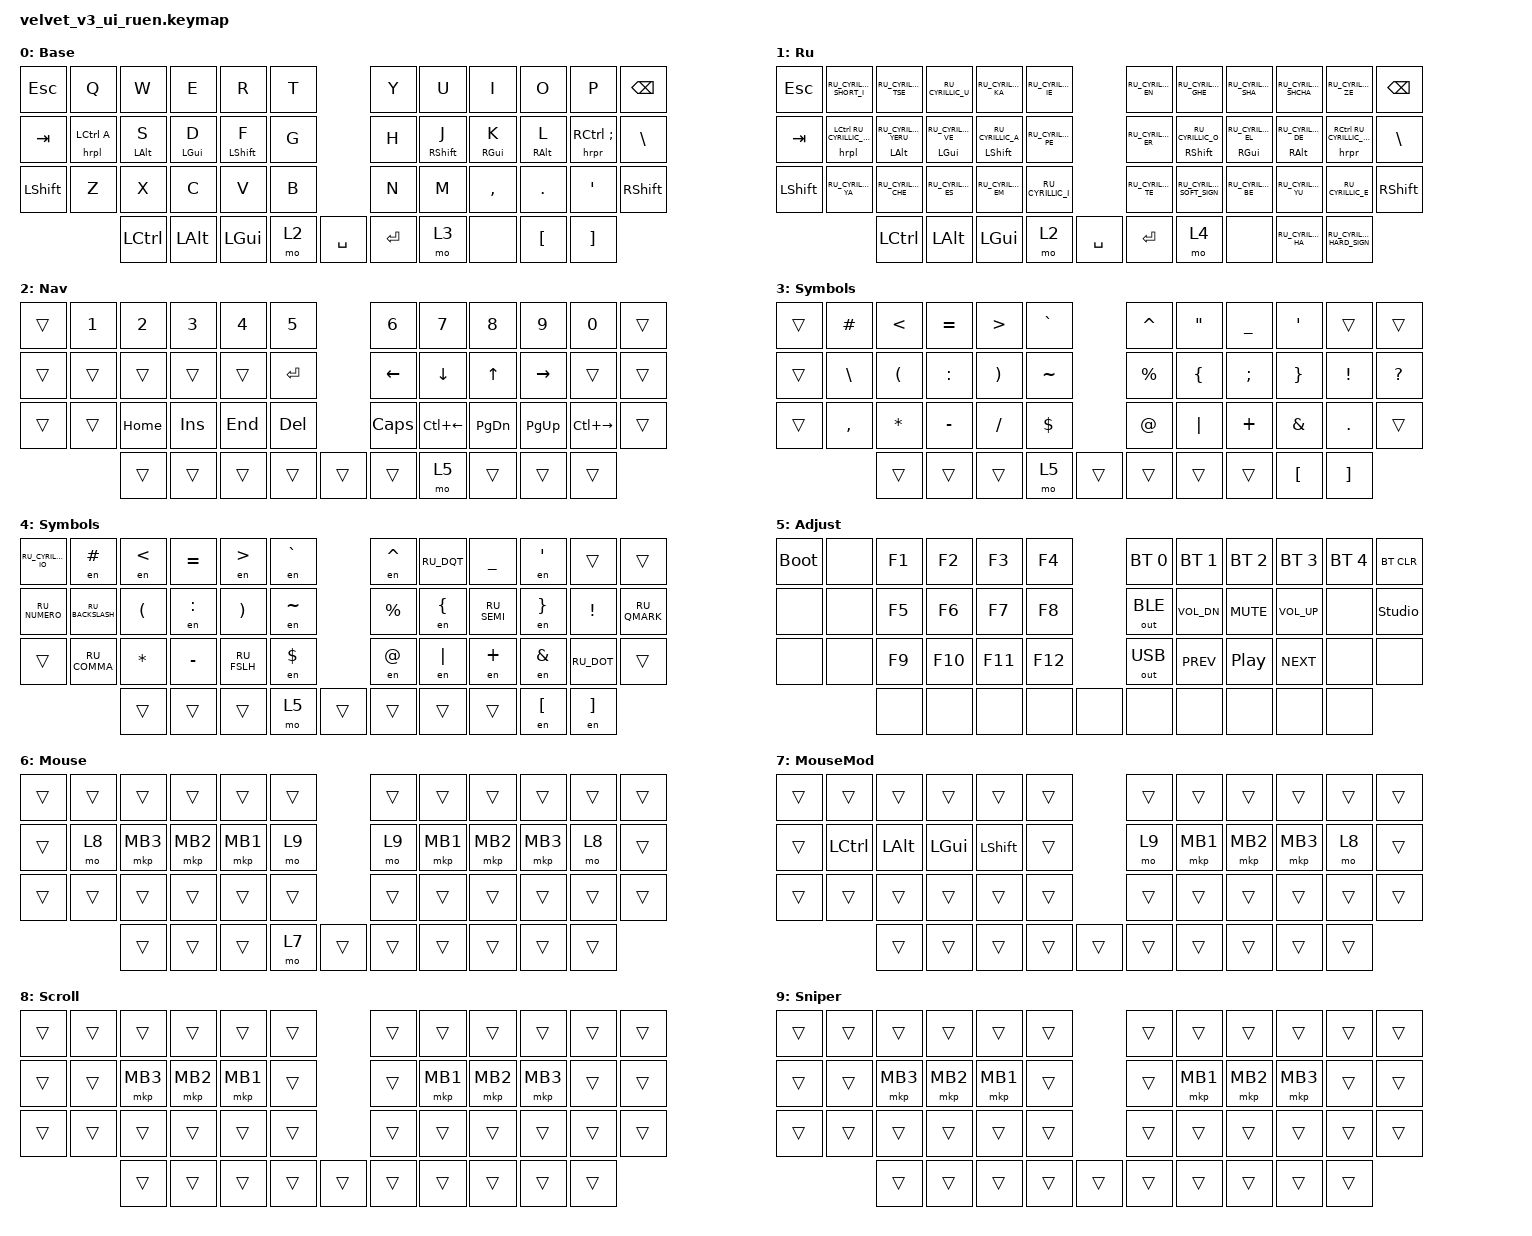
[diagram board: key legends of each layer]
#include "keys_ru.h"
#include <dt-bindings/zmk/input_transform.h>
#include <input/processors.dtsi>
#include <zephyr/dt-bindings/input/input-event-codes.h>
#include <behaviors.dtsi>
#include <dt-bindings/zmk/bt.h>
#include <dt-bindings/zmk/keys.h>
#include <dt-bindings/zmk/outputs.h>
#include <dt-bindings/zmk/pointing.h>

#define LHK 0 1 2 3 4 5 12 13 14 15 16 17 24 25 26 27 28 29 36 37
#define RHK 6 7 8 9 10 11 18 19 20 21 22 23 30 31 32 33 34 35 44 45
#define THK 38 39 40 41 42 43

#include "behaviors_common.h"

/ {
    behaviors {
        cap_sen: cap_sen {
            compatible = "zmk,behavior-hold-tap";
            label = "CAP_SEN";
            bindings = <&mo>, <&mkp>;

            #binding-cells = <2>;
            tapping-term-ms = <150>;
            hold-while-undecided;
        };

        mouse_layer: mouse_layer {
            compatible = "zmk,behavior-sticky-key";
            label = "MOUSE_LAYER";
            bindings = <&mo>;
            #binding-cells = <1>;
            release-after-ms = <200>;
        };

        zip_auto_mouse: zip_auto_mouse {
            compatible = "zmk,input-processor-temp-layer";
            #input-processor-cells = <2>;
            require-prior-idle-ms = <800>;
            excluded-positions = <>;
        };
    };

    combos {
        compatible = "zmk,combos";

        cmben {
            bindings = <&layer_en>;
            key-positions = <3 4>;
            layers = <1>;
        };

        cmbru {
            bindings = <&layer_ru>;
            key-positions = <3 4>;
            layers = <0>;
        };
    };

    macros {
        to_ru: to_ru {
            compatible = "zmk,behavior-macro";
            #binding-cells = <0>;
            bindings = <&kp LS(LC(N2))>;
            label = "TO_RU";
            wait-ms = <0>;
            tap-ms = <30>;
        };

        to_en: to_en {
            compatible = "zmk,behavior-macro";
            #binding-cells = <0>;
            bindings = <&kp LS(LC(N1))>;
            label = "TO_EN";
            wait-ms = <0>;
            tap-ms = <30>;
        };

        layer_en: layer_en {
            compatible = "zmk,behavior-macro";
            #binding-cells = <0>;
            bindings = <&to 0 &to_en>;
            label = "LAYER_EN";
            wait-ms = <0>;
            tap-ms = <30>;
        };

        layer_ru: layer_ru {
            compatible = "zmk,behavior-macro";
            #binding-cells = <0>;
            bindings = <&to 1 &to_ru>;
            label = "LAYER_RU";
            tap-ms = <30>;
            wait-ms = <0>;
        };

        en: en {
            compatible = "zmk,behavior-macro-one-param";
            #binding-cells = <1>;
            bindings =
                <&to_en>,
                <&macro_press>,
                <&macro_param_1to1 &kp MACRO_PLACEHOLDER>,
                <&macro_pause_for_release>,
                <&macro_release>,
                <&macro_param_1to1 &kp MACRO_PLACEHOLDER>,
                <&macro_tap>,
                <&to_ru>;

            label = "EN";
            wait-ms = <0>;
            tap-ms = <30>;
        };
    };

    keymap {
        compatible = "zmk,keymap";

        en {
            bindings = <
&kp ESC    &kp Q          &kp W             &kp E         &kp R          &kp T                        &kp Y  &kp U          &kp I         &kp O         &kp P             &kp BSPC
&kp TAB    &hrpl LCTRL A  &hrml LALT S      &hrml LGUI D  &hrml LSHFT F  &kp G                        &kp H  &hrmr RSHFT J  &hrmr RGUI K  &hrmr RALT L  &hrpr RCTRL SEMI  &kp BSLH
&kp LSHFT  &kp Z          &kp X             &kp C         &kp V          &kp B                        &kp N  &kp M          &kp COMMA     &kp DOT       &kp SQT           &kp RSHFT
                          &kp LEFT_CONTROL  &kp LALT      &kp LGUI       &mo 2  &kp SPACE    &kp RET  &mo 3  &none          &kp LBKT      &kp RBKT
            >;

            display-name = "Base";
        };

        ru {
            display-name = "Ru";
            bindings = <
&kp ESC    &kp RU_CYRILLIC_SHORT_I     &kp RU_CYRILLIC_TSE          &kp RU_CYRILLIC_U          &kp RU_CYRILLIC_KA         &kp RU_CYRILLIC_IE                        &kp RU_CYRILLIC_EN  &kp RU_CYRILLIC_GHE        &kp RU_CYRILLIC_SHA        &kp RU_CYRILLIC_SHCHA      &kp RU_CYRILLIC_ZE           &kp BSPC
&kp TAB    &hrpl LCTRL RU_CYRILLIC_EF  &hrml LALT RU_CYRILLIC_YERU  &hrml LGUI RU_CYRILLIC_VE  &hrml LSHFT RU_CYRILLIC_A  &kp RU_CYRILLIC_PE                        &kp RU_CYRILLIC_ER  &hrmr RSHFT RU_CYRILLIC_O  &hrmr RGUI RU_CYRILLIC_EL  &hrmr RALT RU_CYRILLIC_DE  &hrpr RCTRL RU_CYRILLIC_ZHE  &kp BSLH
&kp LSHFT  &kp RU_CYRILLIC_YA          &kp RU_CYRILLIC_CHE          &kp RU_CYRILLIC_ES         &kp RU_CYRILLIC_EM         &kp RU_CYRILLIC_I                         &kp RU_CYRILLIC_TE  &kp RU_CYRILLIC_SOFT_SIGN  &kp RU_CYRILLIC_BE         &kp RU_CYRILLIC_YU         &kp RU_CYRILLIC_E            &kp RSHFT
                                       &kp LEFT_CONTROL             &kp LALT                   &kp LGUI                   &mo 2               &kp SPACE    &kp RET  &mo 4               &none                      &kp RU_CYRILLIC_HA         &kp RU_CYRILLIC_HARD_SIGN
            >;
        };

        nav {
            bindings = <
&trans  &kp N1  &kp N2    &kp N3   &kp N4   &kp N5                     &kp N6    &kp N7        &kp N8         &kp N9       &kp N0         &trans
&trans  &trans  &trans    &trans   &trans   &kp RET                    &kp LEFT  &kp DOWN      &kp UP         &kp RIGHT    &trans         &trans
&trans  &trans  &kp HOME  &kp INS  &kp END  &kp DEL                    &kp CLCK  &kp LC(LEFT)  &kp PAGE_DOWN  &kp PAGE_UP  &kp LC(RIGHT)  &trans
                &trans    &trans   &trans   &trans   &trans    &trans  &mo 5     &trans        &trans         &trans
            >;

            display-name = "Nav";
        };

        sym_en {
            bindings = <
&trans  &kp HASH   &kp LT    &kp EQUAL  &kp GT    &kp GRAVE                    &kp CARET  &kp DQT   &kp UNDER  &kp SQT   &trans    &trans
&trans  &kp BSLH   &kp LPAR  &kp COLON  &kp RPAR  &kp TILDE                    &kp PRCNT  &kp LBRC  &kp SEMI   &kp RBRC  &kp EXCL  &kp QUESTION
&trans  &kp COMMA  &kp STAR  &kp MINUS  &kp FSLH  &kp DLLR                     &kp AT     &kp PIPE  &kp PLUS   &kp AMPS  &kp DOT   &trans
                   &trans    &trans     &trans    &mo 5      &trans    &trans  &trans     &trans    &kp LBKT   &kp RBKT
            >;

            display-name = "Symbols";
        };

        sym_ru {
            display-name = "Symbols";
            bindings = <
&kp RU_CYRILLIC_IO  &en HASH          &en LT    &kp EQUAL  &en GT       &en GRAVE                    &en CARET  &kp RU_DQT  &kp UNDER    &en SQT   &trans      &trans
&kp RU_NUMERO       &kp RU_BACKSLASH  &kp LPAR  &en COLON  &kp RPAR     &en TILDE                    &kp PRCNT  &en LBRC    &kp RU_SEMI  &en RBRC  &kp EXCL    &kp RU_QMARK
&trans              &kp RU_COMMA      &kp STAR  &kp MINUS  &kp RU_FSLH  &en DLLR                     &en AT     &en PIPE    &en PLUS     &en AMPS  &kp RU_DOT  &trans
                                      &trans    &trans     &trans       &mo 5      &trans    &trans  &trans     &trans      &en LBKT     &en RBKT
            >;
        };

        adj {
            bindings = <
&bootloader  &none  &kp F1  &kp F2   &kp F3   &kp F4                   &bt BT_SEL 0  &bt BT_SEL 1  &bt BT_SEL 2      &bt BT_SEL 3  &bt BT_SEL 4  &bt BT_CLR
&none        &none  &kp F5  &kp F6   &kp F7   &kp F8                   &out OUT_BLE  &kp C_VOL_DN  &kp C_MUTE        &kp C_VOL_UP  &none         &studio_unlock
&none        &none  &kp F9  &kp F10  &kp F11  &kp F12                  &out OUT_USB  &kp C_PREV    &kp C_PLAY_PAUSE  &kp C_NEXT    &none         &none
                    &none   &none    &none    &none    &none    &none  &none         &none         &none             &none
            >;

            display-name = "Adjust";
        };

        mouse {
            bindings = <
&trans  &trans  &trans    &trans    &trans    &trans                    &trans  &trans    &trans    &trans    &trans  &trans
&trans  &mo 8   &mkp MB3  &mkp MB2  &mkp MB1  &mo 9                     &mo 9   &mkp MB1  &mkp MB2  &mkp MB3  &mo 8   &trans
&trans  &trans  &trans    &trans    &trans    &trans                    &trans  &trans    &trans    &trans    &trans  &trans
                &trans    &trans    &trans    &mo 7   &trans    &trans  &trans  &trans    &trans    &trans
            >;

            display-name = "Mouse";
        };

        mousemod {
            bindings = <
&trans  &trans     &trans    &trans    &trans     &trans                    &trans  &trans    &trans    &trans    &trans  &trans
&trans  &kp LCTRL  &kp LALT  &kp LGUI  &kp LSHFT  &trans                    &mo 9   &mkp MB1  &mkp MB2  &mkp MB3  &mo 8   &trans
&trans  &trans     &trans    &trans    &trans     &trans                    &trans  &trans    &trans    &trans    &trans  &trans
                   &trans    &trans    &trans     &trans  &trans    &trans  &trans  &trans    &trans    &trans
            >;

            display-name = "MouseMod";
        };

        scroll {
            bindings = <
&trans  &trans  &trans    &trans    &trans    &trans                    &trans  &trans    &trans    &trans    &trans  &trans
&trans  &trans  &mkp MB3  &mkp MB2  &mkp MB1  &trans                    &trans  &mkp MB1  &mkp MB2  &mkp MB3  &trans  &trans
&trans  &trans  &trans    &trans    &trans    &trans                    &trans  &trans    &trans    &trans    &trans  &trans
                &trans    &trans    &trans    &trans  &trans    &trans  &trans  &trans    &trans    &trans
            >;

            display-name = "Scroll";
        };

        sniper {
            bindings = <
&trans  &trans  &trans    &trans    &trans    &trans                    &trans  &trans    &trans    &trans    &trans  &trans
&trans  &trans  &mkp MB3  &mkp MB2  &mkp MB1  &trans                    &trans  &mkp MB1  &mkp MB2  &mkp MB3  &trans  &trans
&trans  &trans  &trans    &trans    &trans    &trans                    &trans  &trans    &trans    &trans    &trans  &trans
                &trans    &trans    &trans    &trans  &trans    &trans  &trans  &trans    &trans    &trans
            >;

            display-name = "Sniper";
        };
    };
};

&trackball { cpi = <800>; };

&trackball_listener {
    input-processors = <&zip_auto_mouse 6 500>, <&zip_xy_scaler 9 20>;

    scroller {
        layers = <8>;
        input-processors =
            <&zip_xy_transform INPUT_TRANSFORM_Y_INVERT>,
            <&zip_xy_scaler 1 32>,
            <&zip_xy_to_scroll_mapper>;
    };

    sniper {
        layers = <9>;
        input-processors = <&zip_xy_scaler 1 4>;
    };
};
